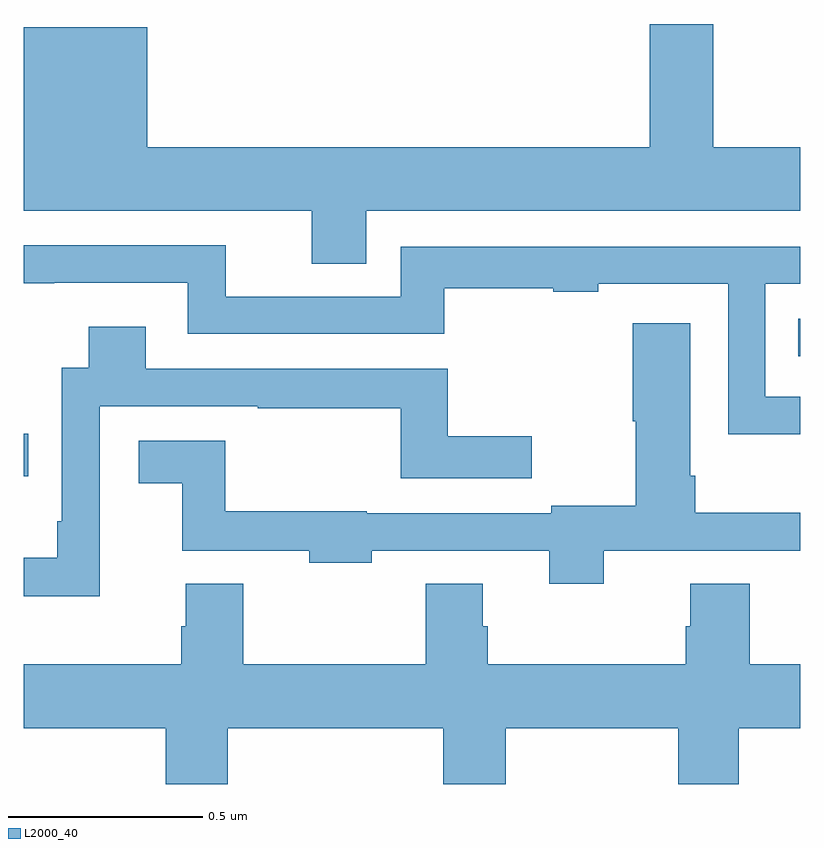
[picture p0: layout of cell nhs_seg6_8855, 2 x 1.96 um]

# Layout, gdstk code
import gdstk
lib = gdstk.Library(unit=1e-6, precision=1e-09)
def R(c, l, rs):  # rectangles x0, y0, x1, y1
    for r in rs: c.add(gdstk.rectangle(r[:2], r[2:], *l))
def P(c, l, *ps):  # polygons
    for p in ps: c.add(gdstk.Polygon(p, *l))
L2000_40 = (2000, 40)

nhs_seg6_8855 = lib.new_cell('nhs_seg6_8855')
R(nhs_seg6_8855, L2000_40, [(226,973.292,226.012,973.402), (227.995,973.602,228,973.698)])
P(nhs_seg6_8855, L2000_40, [(226.882,973.976),(228,973.976),(228,974.14),(227.776,974.14),(227.776,974.457),(227.612,974.457),(227.612,974.14),(226.318,974.14),(226.318,974.449),(226,974.449),(226,973.976),(226.742,973.976),(226.742,973.84),(226.882,973.84)],
  [(228,973.497),(227.91,973.497),(227.91,973.788),(228,973.788),(228,973.884),(226.971,973.884),(226.971,973.755),(226.521,973.755),(226.521,973.887),(226,973.887),(226,973.789),(226.079,973.789),(226.079,973.791),(226.422,973.791),(226.422,973.659),(227.083,973.659),(227.083,973.776),(227.364,973.776),(227.364,973.768),(227.48,973.768),(227.48,973.788),(227.814,973.788),(227.814,973.4),(228,973.4)],
  [(227.494,973.101),(228,973.101),(228,973.199),(227.729,973.199),(227.729,973.294),(227.716,973.294),(227.716,973.687),(227.569,973.687),(227.569,973.434),(227.576,973.434),(227.576,973.217),(227.358,973.217),(227.358,973.197),(226.884,973.197),(226.884,973.202),(226.519,973.202),(226.519,973.384),(226.296,973.384),(226.296,973.274),(226.409,973.274),(226.409,973.101),(226.736,973.101),(226.736,973.07),(226.896,973.07),(226.896,973.101),(227.354,973.101),(227.354,973.016),(227.494,973.016)],
  [(226.196,973.473),(226.603,973.473),(226.603,973.468),(226.971,973.468),(226.971,973.287),(227.308,973.287),(227.308,973.396),(227.092,973.396),(227.092,973.569),(226.315,973.569),(226.315,973.678),(226.168,973.678),(226.168,973.572),(226.098,973.572),(226.098,973.177),(226.086,973.177),(226.086,973.082),(226,973.082),(226,972.983),(226.196,972.983)],
  [(226.526,972.644),(227.081,972.644),(227.081,972.5),(227.241,972.5),(227.241,972.644),(227.686,972.644),(227.686,972.5),(227.841,972.5),(227.841,972.644),(228,972.644),(228,972.808),(227.87,972.808),(227.87,973.016),(227.717,973.016),(227.717,972.906),(227.705,972.906),(227.705,972.808),(227.195,972.808),(227.195,972.906),(227.182,972.906),(227.182,973.016),(227.035,973.016),(227.035,972.808),(226.566,972.808),(226.566,973.016),(226.418,973.016),(226.418,972.906),(226.406,972.906),(226.406,972.808),(226,972.808),(226,972.644),(226.366,972.644),(226.366,972.5),(226.526,972.5)])

lib.write_gds('nhs_seg6_8855.gds')
